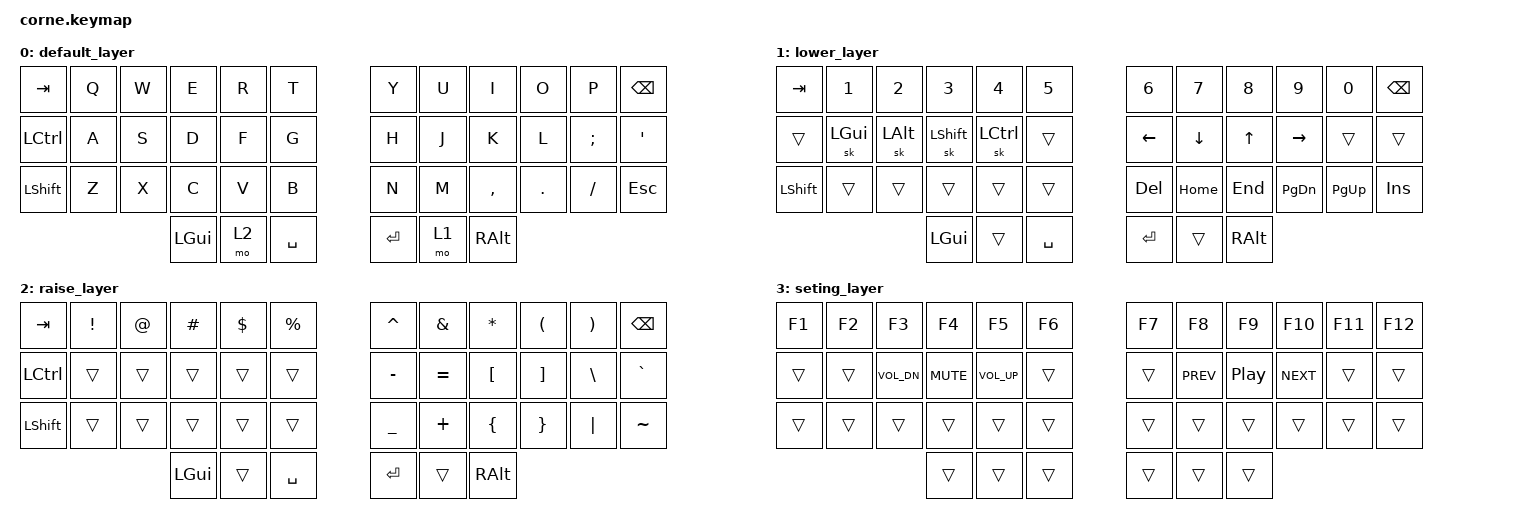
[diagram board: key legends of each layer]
/*
 * Copyright (c) 2020 The ZMK Contributors
 *
 * SPDX-License-Identifier: MIT
 */

#include <behaviors.dtsi>
#include <dt-bindings/zmk/keys.h>

/ {
    keymap {
        compatible = "zmk,keymap";

        default_layer {
            // -----------------------------------------------------------------------------------------
            // |  TAB |  Q  |  W  |  E  |  R  |  T  |   |  Y  |  U   |  I  |  O  |  P  | BSPC |
            // | CTRL |  A  |  S  |  D  |  F  |  G  |   |  H  |  J   |  K  |  L  |  ;  |  '   |
            // | SHFT |  Z  |  X  |  C  |  V  |  B  |   |  N  |  M   |  ,  |  .  |  /  | ESC  |
            //                    | GUI | LWR | SPC |   | ENT | RSE  | ALT |

            bindings = <
&kp TAB    &kp Q  &kp W  &kp E     &kp R  &kp T        &kp Y    &kp U  &kp I      &kp O    &kp P     &kp BSPC
&kp LCTRL  &kp A  &kp S  &kp D     &kp F  &kp G        &kp H    &kp J  &kp K      &kp L    &kp SEMI  &kp SQT
&kp LSHFT  &kp Z  &kp X  &kp C     &kp V  &kp B        &kp N    &kp M  &kp COMMA  &kp DOT  &kp FSLH  &kp ESC
                         &kp LGUI  &mo 2  &kp SPACE    &kp RET  &mo 1  &kp RALT
            >;
        };

        lower_layer {
            // -----------------------------------------------------------------------------------------
            // |  TAB |  1  |  2  |  3  |  4  |  5  |   |  6  |  7  |  8  |  9  |  0  | BSPC |
            // | BTCLR| BT1 | BT2 | BT3 | BT4 | BT5 |   | LFT | DWN |  UP | RGT |     |      |
            // | SHFT |     |     |     |     |     |   |     |     |     |     |     |      |
            //                    | GUI |     | SPC |   | ENT |     | ALT |

            bindings = <
&kp TAB    &kp N1        &kp N2        &kp N3          &kp N4            &kp N5       &kp N6    &kp N7    &kp N8    &kp N9         &kp N0       &kp BSPC
&trans     &sk LEFT_GUI  &sk LEFT_ALT  &sk LEFT_SHIFT  &sk LEFT_CONTROL  &trans       &kp LEFT  &kp DOWN  &kp UP    &kp RIGHT      &trans       &trans
&kp LSHFT  &trans        &trans        &trans          &trans            &trans       &kp DEL   &kp HOME  &kp END   &kp PAGE_DOWN  &kp PAGE_UP  &kp INSERT
                                       &kp LGUI        &trans            &kp SPACE    &kp RET   &trans    &kp RALT
            >;
        };

        raise_layer {
            // -----------------------------------------------------------------------------------------
            // |  TAB |  !  |  @  |  #  |  $  |  %  |   |  ^  |  &  |  *  |  (  |  )  | BSPC |
            // | CTRL |     |     |     |     |     |   |  -  |  =  |  [  |  ]  |  \  |  `   |
            // | SHFT |     |     |     |     |     |   |  _  |  +  |  {  |  }  | "|" |  ~   |
            //                    | GUI |     | SPC |   | ENT |     | ALT |

            bindings = <
&kp TAB    &kp EXCL  &kp AT  &kp HASH  &kp DLLR  &kp PRCNT    &kp CARET  &kp AMPS   &kp ASTRK  &kp LPAR  &kp RPAR  &kp BSPC
&kp LCTRL  &trans    &trans  &trans    &trans    &trans       &kp MINUS  &kp EQUAL  &kp LBKT   &kp RBKT  &kp BSLH  &kp GRAVE
&kp LSHFT  &trans    &trans  &trans    &trans    &trans       &kp UNDER  &kp PLUS   &kp LBRC   &kp RBRC  &kp PIPE  &kp TILDE
                             &kp LGUI  &trans    &kp SPACE    &kp RET    &trans     &kp RALT
            >;
        };

        seting_layer {
            bindings = <
&kp F1  &kp F2  &kp F3        &kp F4      &kp F5        &kp F6    &kp F7  &kp F8      &kp F9            &kp F10     &kp F11  &kp F12
&trans  &trans  &kp C_VOL_DN  &kp K_MUTE  &kp C_VOL_UP  &trans    &trans  &kp C_PREV  &kp C_PLAY_PAUSE  &kp C_NEXT  &trans   &trans
&trans  &trans  &trans        &trans      &trans        &trans    &trans  &trans      &trans            &trans      &trans   &trans
                              &trans      &trans        &trans    &trans  &trans      &trans
            >;
        };
    };

    conditional_layers {
        compatible = "zmk,conditional-layers";

        seting_layer {
            if-layers = <1 2>;
            then-layer = <3>;
        };
    };

    esb_split {
        compatible = "zmk,esb-split";
        base-addr-0 = <0xA3 0x7F 0x91 0x4D>;
        base-addr-1 = <0x58 0x2E 0xB4 0x19>;
        addr-prefix = <0xD1 0xC2 0xC3 0xC4 0xC5 0xC6 0xC7 0xC8>;
    };
};
